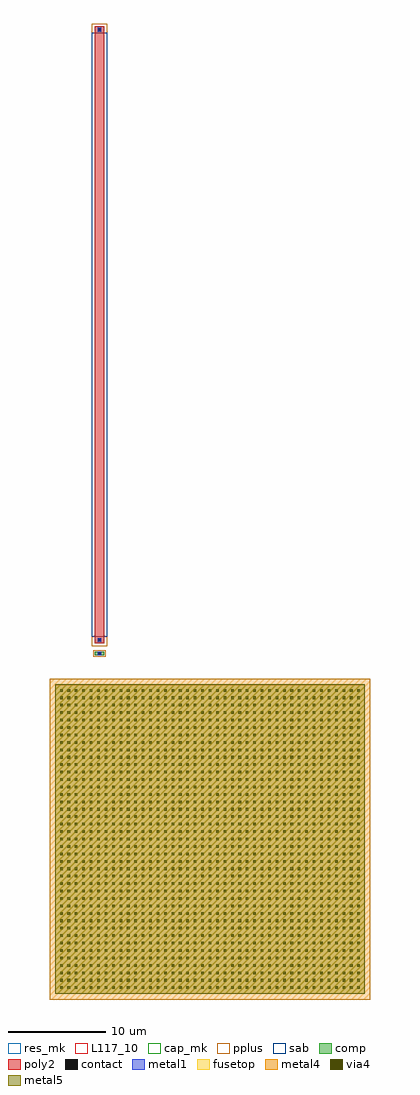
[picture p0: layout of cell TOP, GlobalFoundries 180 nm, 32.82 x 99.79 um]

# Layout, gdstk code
from math import pi, radians
import gdstk
lib = gdstk.Library(unit=1e-6, precision=1e-09)
def R(c, l, rs):  # rectangles x0, y0, x1, y1
    for r in rs: c.add(gdstk.rectangle(r[:2], r[2:], *l))
def A(c, l, x, y, w, h, nx, ny, dx, dy):  # array of equal rectangles
    R(c, l, [(x+i*dx, y+j*dy, x+i*dx+w, y+j*dy+h) for i in range(nx) for j in range(ny)])
comp = (22, 0)
poly2 = (30, 0)
pplus = (31, 0)
contact = (33, 0)
metal1 = (34, 0)
via4 = (41, 0)
metal4 = (46, 0)
sab = (49, 0)
fusetop = (75, 0)
metal5 = (81, 0)
res_mk = (110, 5)
cap_mk = (117, 5)
L117_10 = (117, 10)

cap_mim = lib.new_cell('cap_mim')
A(cap_mim, via4, 0.48, 0.48, 0.26, 0.26, 41, 41, 0.76, 0.76)
R(cap_mim, metal4, [(-0.6,-0.6,32.22,32.22)])
R(cap_mim, fusetop, [(0,0,31.62,31.62)])
R(cap_mim, metal5, [(0,0,31.62,31.62)])
R(cap_mim, cap_mk, [(-0.6,-0.6,32.22,32.22)])
R(cap_mim, L117_10, [(0,0,31.62,0.1)])

ppolyf_u_resistor = lib.new_cell('ppolyf_u_resistor')
R(ppolyf_u_resistor, comp, [(-1.88,0,-1.52,1)])
R(ppolyf_u_resistor, poly2, [(-0.66,0,62.4,1)])
R(ppolyf_u_resistor, pplus, [(-0.96,-0.3,62.7,1.3), (-2.04,-0.16,-1.36,1.16)])
R(ppolyf_u_resistor, contact, [(-1.81,0.39,-1.59,0.61), (-0.44,0.39,-0.22,0.61), (61.96,0.39,62.18,0.61)])
R(ppolyf_u_resistor, metal1, [(-1.89,0.309,-1.51,0.691), (-0.52,0.309,-0.14,0.691), (61.88,0.309,62.26,0.691)])
R(ppolyf_u_resistor, sab, [(0,-0.28,61.74,1.28)])
R(ppolyf_u_resistor, res_mk, [(0,0,61.74,1)])

top = lib.new_cell('TOP')
top.add(gdstk.Reference(cap_mim, (32.6,32.57), rotation=pi))
top.add(gdstk.Reference(ppolyf_u_resistor, (5.99,37.44), rotation=pi/2))

lib.write_gds('TOP.gds')
